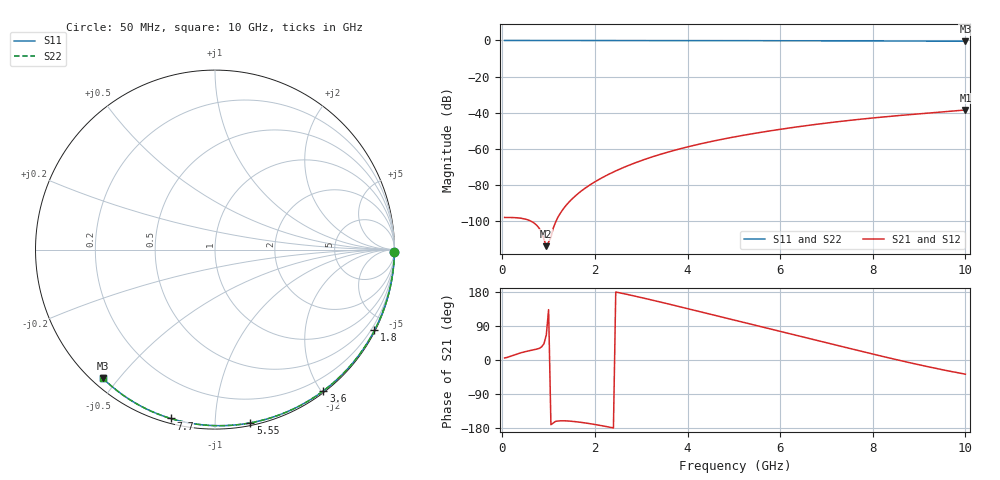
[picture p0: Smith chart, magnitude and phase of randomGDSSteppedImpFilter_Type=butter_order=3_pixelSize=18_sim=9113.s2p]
! freq	dB(S11)	phase(S11)	dB(S12)	phase(S12)
!  dB(S21)	phase(S21)	dB(S22)	phase(S22)
!S-par simulation data
#  GHz  S  DB  R 50
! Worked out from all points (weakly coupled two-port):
!   200 points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, 50 MHz to 10 GHz, reference 50 ohm
!   highest |S21| = -38.46 dB at 10 GHz (marker M1); lowest = -113.8 dB at 950 MHz (marker M2)
!   lowest |S11| = -0.4 dB at 10 GHz (marker M3), VSWR 39.74, Z = 1.52 - j22.7 ohm
!   |S11| at or under -10 dB: nowhere
!   |S22| runs from -0.4 to 0.0 dB; largest |S21 - S12| = 0
!   S11 on the Smith chart (normalised r, x): 50 MHz: open; 1.8 GHz: 0.04, -4.19; 3.6 GHz: 0.02, -2.03; 5.55 GHz: 0.02, -1.22; 7.7 GHz: 0.02, -0.77; 10 GHz: 0.03, -0.45
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0.05  -0.00 -0.8  -97.93 5.4  -97.93 5.4  -0.00 -0.8
0.5  -0.01 -7.6  -98.84 22.1  -98.84 22.1  -0.01 -7.6
0.95  -0.02 -14.3  -113.81 65.9  -113.81 65.9  -0.02 -14.3
1.75  -0.03 -26.1  -82.45 -165.4  -82.45 -165.4  -0.03 -26.1
1.8  -0.03 -26.9  -81.52 -166.3  -81.52 -166.3  -0.03 -26.9
1.9  -0.04 -28.3  -79.80 -168.1  -79.80 -168.1  -0.04 -28.3
2.05  -0.04 -30.5  -77.44 -171.2  -77.44 -171.2  -0.04 -30.5
2.25  -0.04 -33.4  -74.65 -175.7  -74.65 -175.7  -0.04 -33.4
2.65  -0.05 -39.2  -69.93 174.3  -69.93 174.3  -0.05 -39.2
3  -0.06 -44.1  -66.48 164.8  -66.48 164.8  -0.06 -44.1
3.4  -0.07 -49.7  -63.10 153.4  -63.10 153.4  -0.07 -49.7
3.6  -0.07 -52.5  -61.60 147.5  -61.60 147.5  -0.07 -52.5
3.9  -0.08 -56.6  -59.53 138.6  -59.53 138.6  -0.08 -56.6
4.3  -0.09 -62.1  -57.08 126.6  -57.08 126.6  -0.09 -62.1
5.05  -0.11 -72.0  -53.18 104.0  -53.18 104.0  -0.11 -72.0
5.55  -0.13 -78.4  -50.96 89.1  -50.96 89.1  -0.13 -78.4
6.1  -0.15 -85.4  -48.78 72.6  -48.78 72.6  -0.15 -85.4
6.7  -0.18 -92.8  -46.66 54.7  -46.66 54.7  -0.18 -92.8
7.7  -0.24 -104.8  -43.66 24.6  -43.66 24.6  -0.24 -104.8
8.35  -0.29 -112.3  -42.04 5.5  -42.04 5.5  -0.29 -112.3
9.15  -0.36 -121.5  -40.28 -16.6  -40.28 -16.6  -0.36 -121.5
10  -0.44 -131.1  -38.46 -37.5  -38.46 -37.5  -0.44 -131.1
